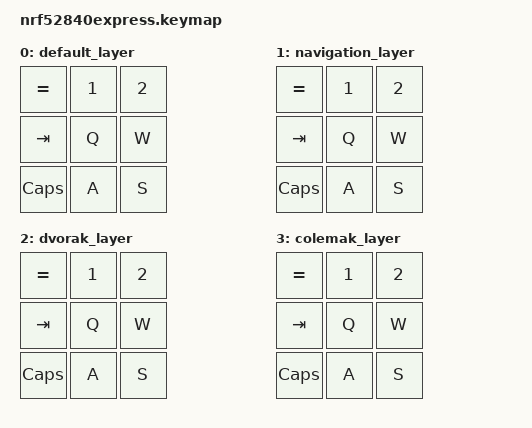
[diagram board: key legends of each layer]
/*
 * Copyright (c) 2021 The ZMK Contributors
 *
 * SPDX-License-Identifier: MIT
 */

#include <behaviors.dtsi>
#include <dt-bindings/zmk/keys.h>
#include <dt-bindings/zmk/bt.h>

/ {
    combos {
		compatible = "zmk,combos";
        // set combo <= program> to goto bootloader
		combo_boot {
			timeout-ms = <100>;
			key-positions = <17 18>;
			bindings = <&bootloader>;
		};
        // set combo <= keypad> to reset
		combo_reset {
			timeout-ms = <100>;
			key-positions = <16 18>;
			bindings = <&reset>;
		};
	};


    keymap0: keymap {
        compatible = "zmk,keymap";

    // default layer matches printing on keyboard

default_layer {
 bindings = <
   &kp EQUAL &kp N1    &kp N2
    &kp TAB   &kp Q     &kp W
    &kp CLCK  &kp A     &kp S
 >;
};

navigation_layer {
 bindings = <
   &kp EQUAL &kp N1    &kp N2
    &kp TAB   &kp Q     &kp W
    &kp CLCK  &kp A     &kp S
 >;
};     

dvorak_layer {
 bindings = <
   &kp EQUAL &kp N1    &kp N2
    &kp TAB   &kp Q     &kp W
    &kp CLCK  &kp A     &kp S
 >;
};

colemak_layer {
 bindings = <
   &kp EQUAL &kp N1    &kp N2
    &kp TAB   &kp Q     &kp W
    &kp CLCK  &kp A     &kp S
 >;
};

};
};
